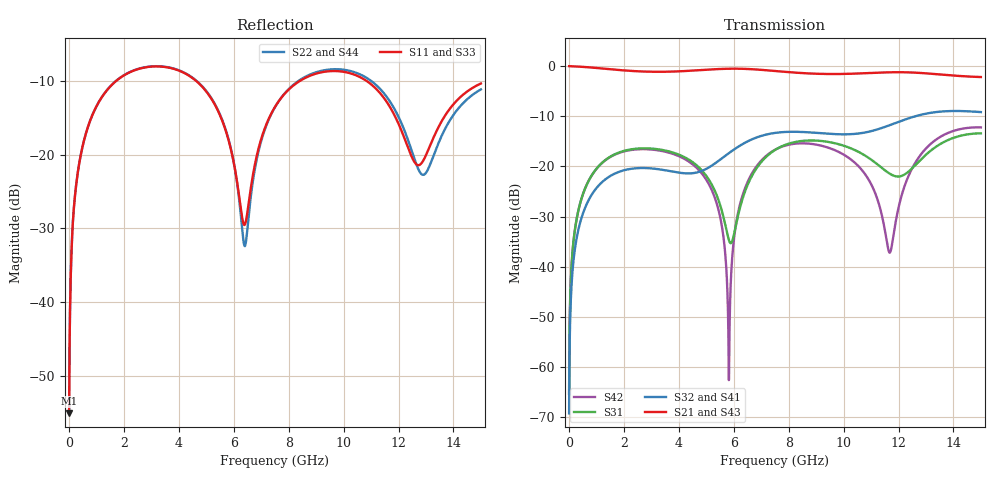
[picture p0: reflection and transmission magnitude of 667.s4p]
! Created with skrf 1.8.0 (http://scikit-rf.org).
# GHz S RI R 50.0
!freq ReS11 ImS11 ReS12 ImS12 ReS13 ImS13
! ReS14 ImS14
! ReS21 ImS21 ReS22 ImS22 ReS23 ImS23
! ReS24 ImS24
! ReS31 ImS31 ReS32 ImS32 ReS33 ImS33
! ReS34 ImS34
! ReS41 ImS41 ReS42 ImS42 ReS43 ImS43
! ReS44 ImS44
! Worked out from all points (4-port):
!   2499 points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, 5 MHz to 15 GHz, reference 50 ohm
!   strongest paths, dB at 5 MHz, 3.476 GHz, 7.19 GHz, 11.1 GHz, 15 GHz:
!     S21: 0.0, -1.1, -0.8, -1.3, -2.2
!     S43: 0.0, -1.1, -0.8, -1.3, -2.2
!     S32: -69.2, -20.7, -13.6, -12.8, -9.2
!     S41: -69.2, -20.7, -13.6, -12.8, -9.2
!     S31: -65.3, -16.8, -18.0, -19.0, -13.4
!     S42: -65.3, -17.0, -17.8, -24.6, -12.2
!   lowest |S11| = -55.0 dB at 5 MHz (marker M1), VSWR 1.00, Z = 50.1 + j0.108 ohm
!   |S11| at or under -10 dB: start of sweep to 1.726 GHz; 4.623 GHz to 8.418 GHz (3.795 GHz wide, 58.2 % of centre); 10.83 GHz to end of sweep
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0.005  0.00141 0.00107  0.9986 -0.00274  6.94e-05 0.000538  -6.75e-05 -0.00034
       0.9986 -0.00274  0.00141 0.00107  -6.75e-05 -0.00034  6.93e-05 0.000538
       6.94e-05 0.000538  -6.75e-05 -0.00034  0.00141 0.00107  0.9986 -0.00274
       -6.75e-05 -0.00034  6.93e-05 0.000538  0.9986 -0.00274  0.00141 0.00107
1.569404  0.2274 0.1921  0.6366 -0.6738  0.1095 0.0667  -0.0798 -0.0197
          0.6366 -0.6738  0.2286 0.1915  -0.0799 -0.0197  0.1057 0.0708
          0.1095 0.0667  -0.0799 -0.0197  0.2274 0.1921  0.6366 -0.6738
          -0.0798 -0.0197  0.1057 0.0708  0.6366 -0.6738  0.2286 0.1915
4.89579  0.213 -0.1848  -0.6177 -0.6769  0.0386 -0.0787  -0.0466 0.0789
         -0.6177 -0.6769  0.209 -0.1922  -0.0463 0.0792  0.0529 -0.0616
         0.0386 -0.0787  -0.0463 0.0792  0.213 -0.1854  -0.6176 -0.6768
         -0.0466 0.0789  0.0529 -0.0616  -0.6176 -0.6768  0.2097 -0.1922
5.821175  0.0627 -0.1061  -0.8811 -0.3325  -0.0165 -0.00858  -0.044 0.1283
          -0.8811 -0.3325  0.0549 -0.1119  -0.0435 0.1285  -0.000607 -0.000428
          -0.0165 -0.00858  -0.0435 0.1285  0.0619 -0.1071  -0.881 -0.3325
          -0.044 0.1283  -0.000607 -0.000428  -0.881 -0.3325  0.0562 -0.1121
7.284285  0.1124 0.1358  -0.8343 0.3503  0.091 0.0958  0.1063 0.1816
          -0.8343 0.3503  0.1045 0.1394  0.1072 0.1816  0.0898 0.0999
          0.091 0.0958  0.1072 0.1816  0.11 0.1361  -0.8343 0.3505
          0.1063 0.1816  0.0898 0.0999  -0.8343 0.3505  0.1065 0.138
11.67987  0.1619 -0.1358  0.6534 0.5706  -0.0637 -0.0559  0.1661 -0.1972
          0.6534 0.5706  0.1656 -0.1598  0.1635 -0.1994  -0.0129 -0.00498
          -0.0637 -0.0559  0.1635 -0.1994  0.1646 -0.1323  0.6543 0.5697
          0.1661 -0.1972  -0.0129 -0.00498  0.6543 0.5697  0.1617 -0.1623
15  0.2912 0.0832  0.4929 -0.6018  0.21 0.0397  -0.3121 -0.153
    0.4929 -0.6018  0.2622 0.0864  -0.3142 -0.15  0.2448 0.0117
    0.21 0.0397  -0.3142 -0.15  0.2938 0.0841  0.4903 -0.6024
    -0.3121 -0.153  0.2448 0.0117  0.4903 -0.6024  0.2661 0.0878
